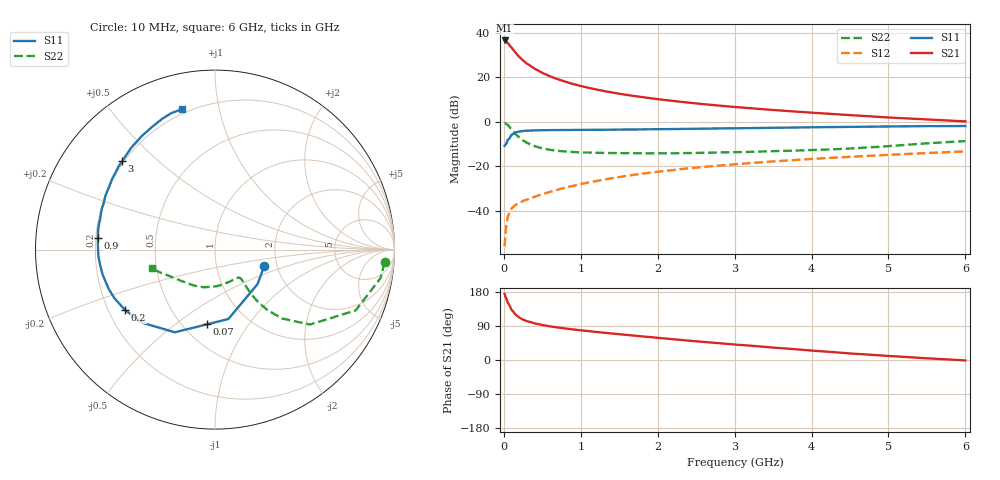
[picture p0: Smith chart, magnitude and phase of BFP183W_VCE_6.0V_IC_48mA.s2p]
! Infineon Technologies  Discrete & RF Semiconductors
! BFP183W
! VCE =  6.0 V,  IC =  48 mA
! Common Emitter S-Parameters:  Jan 2017
# GHz  S  MA  R  50
!  f  S11  S21  S12  S22
! GHz  MAG  ANG  MAG  ANG  MAG  ANG  MAG  ANG
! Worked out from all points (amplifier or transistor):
!   77 points, 10 MHz to 6 GHz, reference 50 ohm
!   highest |S21| = 36.6 dB at 10 MHz (marker M1)
!   |S21| within 3 dB of that: start of sweep to 94.18 MHz
!   unconditionally stable (mu >= 1): 677.7 MHz to 3.321 GHz
!   at 130 MHz: K = 0.39, MSG = 35.0 dB, |S12| = -38.0 dB
!   at 2.2 GHz: K = 1.07, MAG = 13.9 dB, |S12| = -21.7 dB
!   at 6 GHz: K = 0.85, MSG = 6.7 dB, |S12| = -13.3 dB
!   S11 on the Smith chart (normalised r, x): 10 MHz: 1.71, -0.35; 70 MHz: 0.65, -0.66; 200 MHz: 0.27, -0.28; 900 MHz: 0.21, +0.05; 3 GHz: 0.19, +0.39; 6 GHz: 0.18, +0.78
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0.01  0.2892 -18.7  67.38 174.3  0.0016 84.8  0.9477 -4.3
0.02  0.3052 -39.1  66.07 167.9  0.0029 85.3  0.9363 -9.7
0.05  0.3938 -79.1  59.69 151.8  0.0072 69.6  0.8537 -23.4
0.07  0.4187 -96.1  53.69 145.1  0.0088 63.5  0.7758 -28.5
0.1  0.5122 -115.9  46.48 132.2  0.0113 57.7  0.6738 -38.3
0.15  0.5757 -135.0  36.1 120.2  0.0135 52.9  0.5351 -45.8
0.2  0.604 -146.2  28.9 112.1  0.0146 52.6  0.4445 -49.1
0.25  0.6224 -154.2  23.94 106.5  0.0167 51.6  0.3809 -50.5
0.3  0.6316 -159.7  20.32 102.5  0.0178 52.3  0.3375 -50.8
0.4  0.6412 -167.3  15.6 96.5  0.0206 56.1  0.2828 -50.3
0.5  0.6461 -172.5  12.57 92.3  0.0236 57.1  0.2533 -49.4
0.6  0.6502 -176.6  10.56 88.8  0.0266 58.8  0.2344 -48.8
0.7  0.6517 -180.0  9.07 85.9  0.0297 61.8  0.2222 -48.2
0.9  0.6557 174.3  7.066 80.7  0.0363 64.4  0.2094 -48.9
1.1  0.6606 169.6  5.814 76.3  0.0433 65.7  0.2037 -50.3
1.5  0.6681 161.5  4.276 68.1  0.0572 66.5  0.1973 -55.8
2.1  0.6842 150.4  3.083 56.7  0.0787 64.9  0.1961 -68.9
3  0.7145 136.4  2.153 40.8  0.1106 60.4  0.2076 -93.6
3.1  0.7177 134.9  2.088 39.4  0.1142 59.8  0.209 -96.3
4.1  0.7558 121.5  1.565 23.4  0.1495 53.5  0.2349 -123.4
5.1  0.7877 111.2  1.225 9.5  0.1839 46.7  0.2921 -149.4
6  0.8035 103.3  1.022 -1.2  0.2161 40.2  0.3689 -163.5
